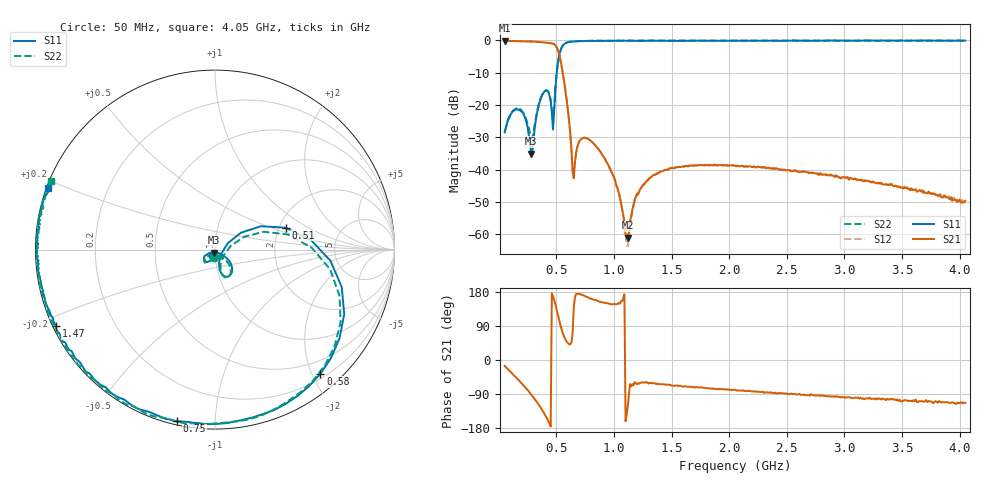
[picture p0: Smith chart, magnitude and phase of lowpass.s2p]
!Agilent Technologies,N5230A,MY46401241,A.07.50.90
!Agilent N5230A: A.07.50.90
!p/n: 0400LP15A0122
!Port1->PIN4, Port2->PIN8 (interchangeable I/O)
!Date: 03/25/2016
!S2P File: Measurements: S11, S21, S12, S22:
# Hz S  dB  R 50
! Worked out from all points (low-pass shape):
!   401 points, 50 MHz to 4.05 GHz, reference 50 ohm
!   highest |S21| = -0.11 dB at 50 MHz (marker M1); lowest = -61.0 dB at 1.12 GHz (marker M2)
!   |S21| within 3 dB of the highest: start of sweep to 513.3 MHz
!   lowest |S11| = -35.0 dB at 280 MHz (marker M3), VSWR 1.04, Z = 49.3 - j1.63 ohm
!   |S11| at or under -10 dB: start of sweep to 502.7 MHz
!   |S22| runs from -30.3 to 0.0 dB; largest |S21 - S12| = 0.0024
!   S11 on the Smith chart (normalised r, x): 50 MHz: 0.98, -0.07; 510 MHz: 2.17, +0.64; 580 MHz: 0.27, -2.13; 750 MHz: 0.02, -0.80; 1.47 GHz: 0.01, -0.23; 4.05 GHz: 0.00, +0.18
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5e7  -28.51 -103.9  -0.11 -15.4  -0.11 -15.4  -28.23 -96.9
1.2e8  -21.92 -120.0  -0.19 -36.8  -0.18 -36.8  -21.91 -116.8
1.9e8  -21.94 -140.3  -0.26 -59.0  -0.25 -59.0  -21.39 -134.5
2.8e8  -35.01 -111.6  -0.32 -90.7  -0.33 -90.7  -30.05 -107.1
3.7e8  -17.39 -45.8  -0.55 -129.1  -0.56 -129.1  -17.32 -50.6
4.4e8  -17.05 -74.8  -0.82 -168.4  -0.82 -168.4  -16.78 -74.3
4.7e8  -27.57 -34.5  -1.01 167.9  -1.00 167.9  -24.74 -35.1
5.1e8  -7.70 17.2  -2.75 122.9  -2.74 122.9  -7.65 11.7
5.4e8  -2.66 -16.5  -7.01 85.9  -7.03 86.0  -2.62 -20.3
5.8e8  -0.84 -49.7  -16.09 53.1  -16.07 52.9  -0.82 -52.7
6.5e8  -0.35 -80.2  -42.63 135.5  -42.61 134.5  -0.31 -82.2
7.2e8  -0.24 -97.4  -30.37 172.0  -30.32 172.3  -0.15 -98.4
7.5e8  -0.17 -102.5  -30.14 168.4  -30.17 168.6  -0.16 -103.7
9.7e8  -0.18 -128.4  -40.09 148.0  -40.09 148.1  -0.05 -128.5
1.12e9  -0.14 -139.0  -61.05 -121.3  -63.66 -102.6  -0.10 -138.3
1.21e9  -0.16 -143.7  -47.57 -61.2  -47.31 -58.6  -0.07 -143.0
1.39e9  -0.12 -151.2  -40.88 -63.9  -41.05 -62.6  -0.07 -150.8
1.47e9  -0.16 -154.3  -39.96 -64.8  -39.80 -65.7  -0.08 -153.6
2.05e9  -0.11 -169.4  -38.74 -78.4  -38.87 -79.1  -0.05 -169.5
2.72e9  -0.07 178.8  -40.94 -92.3  -41.08 -93.4  -0.09 177.8
3.39e9  -0.05 169.1  -44.75 -103.5  -44.52 -102.4  -0.13 166.5
4.05e9  -0.06 159.8  -49.62 -113.0  -50.40 -115.9  -0.11 157.4
